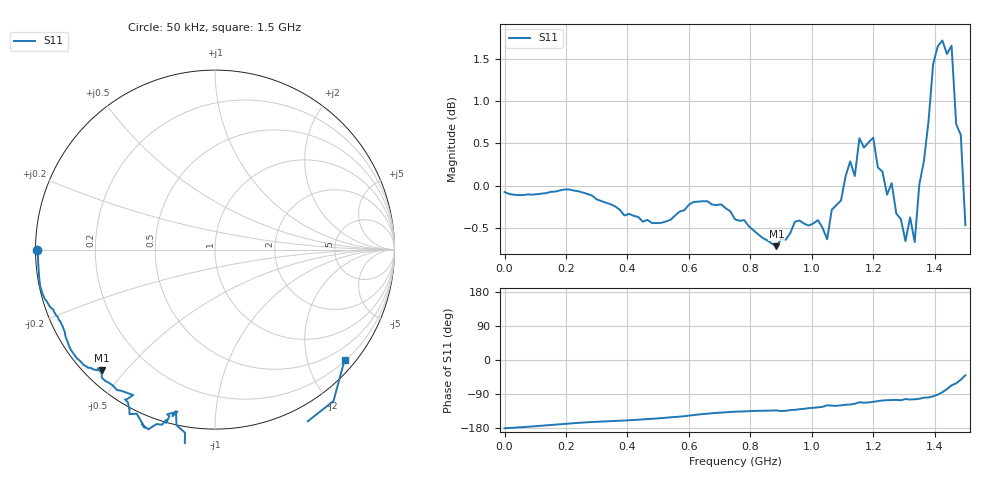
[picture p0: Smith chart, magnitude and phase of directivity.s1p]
! Created with skrf 1.8.0 (http://scikit-rf.org).
# Hz S RI R 50.0
!freq ReS11 ImS11
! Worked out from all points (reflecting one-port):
!   101 points, 50 kHz to 1.5 GHz, reference 50 ohm
!   lowest |S11| = -0.7 dB at 885 MHz (marker M1), VSWR 24.28, Z = 2.45 - j21.7 ohm
!   phase of S11 starts at -180 deg and turns +140 deg over the sweep
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50000  -0.9912 -0.000631
1.950435e8  -0.9755 -0.1949
3.750375e8  -0.9103 -0.3278
5.70031e8  -0.8304 -0.4921
6.450285e8  -0.7783 -0.5939
7.50025e8  -0.6914 -0.6589
8.850205e8  -0.629 -0.6726
9.450185e8  -0.6314 -0.7125
1.035016e9  -0.522 -0.7867
1.050015e9  -0.4559 -0.8101
1.080014e9  -0.5014 -0.8347
1.125012e9  -0.4766 -0.9169
1.140012e9  -0.4361 -0.9144
1.155012e9  -0.3908 -0.9923
1.20001e9  -0.371 -1.001
1.245008e9  -0.2729 -0.9492
1.260008e9  -0.2718 -0.9658
1.290007e9  -0.2663 -0.9174
1.305006e9  -0.2087 -0.9034
1.320006e9  -0.2376 -0.9276
1.335006e9  -0.2174 -0.9002
1.380004e9  -0.1682 -1.079
1.395004e9  -0.1205 -1.173
1.425002e9  0.1032 -1.214
1.455002e9  0.4754 -1.112
1.470001e9  0.5172 -0.9564
1.485e9  0.6604 -0.8434
1.5e9  0.7221 -0.6134
